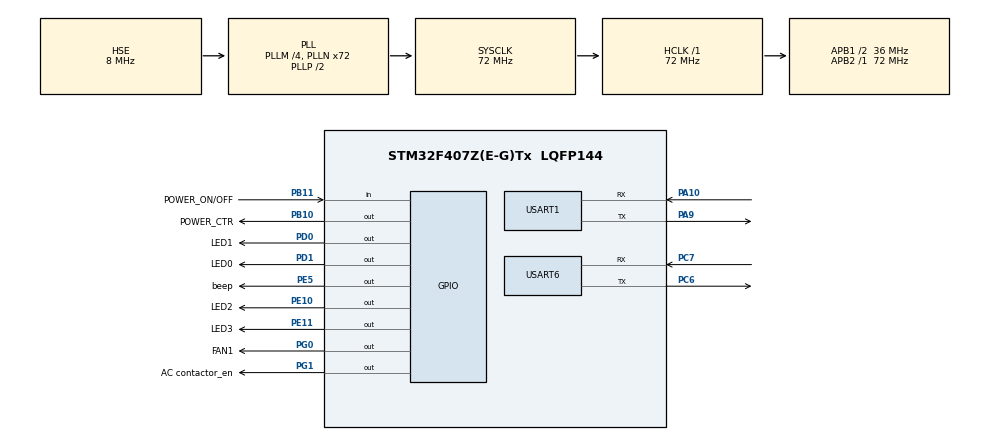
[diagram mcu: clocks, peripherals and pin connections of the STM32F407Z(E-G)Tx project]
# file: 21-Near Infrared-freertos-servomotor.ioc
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FREERTOS.Tasks01=LED_Task,-1,128,Start_LED_Task,Default,NULL,Dynamic,NULL,NULL;PWR_Task,0,128,Start_PWR_Task,Default,NULL,Dynamic,NULL,NULL;Display_tempera,-1,128,Start_Display_temperature_Task,Default,NULL,Dynamic,NULL,NULL;Control_fan_Tas,0,128,Start_Control_fan_Task,Default,NULL,Dynamic,NULL,NULL
Mcu.Family=STM32F4
Mcu.Name=STM32F407Z(E-G)Tx
Mcu.Package=LQFP144
NVIC.PriorityGroup=NVIC_PRIORITYGROUP_4
NVIC.TIM2_IRQn=true\:5\:0\:false\:false\:true\:true\:true\:true\:true
NVIC.TIM7_IRQn=true\:15\:0\:false\:false\:true\:false\:false\:true\:true
NVIC.TimeBase=TIM7_IRQn
NVIC.TimeBaseIP=TIM7
NVIC.USART1_IRQn=true\:5\:0\:false\:false\:true\:true\:true\:true\:true
NVIC.USART6_IRQn=true\:6\:0\:true\:false\:true\:true\:true\:true\:true
PA10.Mode=Asynchronous
PA10.Signal=USART1_RX
PA13.Mode=Serial_Wire
PA13.Signal=SYS_JTMS-SWDIO
PA14.Mode=Serial_Wire
PA14.Signal=SYS_JTCK-SWCLK
PA9.Mode=Asynchronous
PA9.Signal=USART1_TX
PB10.GPIO_Label=POWER_CTR
PB10.GPIO_PuPd=GPIO_PULLDOWN
PB10.GPIO_Speed=GPIO_SPEED_FREQ_HIGH
PB10.PinState=GPIO_PIN_RESET
PB10.Signal=GPIO_Output
PB11.GPIO_Label=POWER_ON/OFF
PB11.GPIO_PuPd=GPIO_PULLUP
PB11.Signal=GPIO_Input
PC6.Mode=Asynchronous
PC6.Signal=USART6_TX
PC7.Mode=Asynchronous
PC7.Signal=USART6_RX
PD0.GPIO_Label=LED1
PD0.GPIO_PuPd=GPIO_PULLUP
PD0.GPIO_Speed=GPIO_SPEED_FREQ_HIGH
PD0.PinState=GPIO_PIN_SET
PD0.Signal=GPIO_Output
PD1.GPIO_Label=LED0
PD1.GPIO_PuPd=GPIO_PULLUP
PD1.GPIO_Speed=GPIO_SPEED_FREQ_HIGH
PD1.PinState=GPIO_PIN_SET
PD1.Signal=GPIO_Output
PE10.GPIO_Label=LED2
PE10.GPIO_PuPd=GPIO_PULLUP
PE10.GPIO_Speed=GPIO_SPEED_FREQ_HIGH
PE10.PinState=GPIO_PIN_SET
PE10.Signal=GPIO_Output
PE11.GPIO_Label=LED3
PE11.GPIO_PuPd=GPIO_PULLUP
PE11.GPIO_Speed=GPIO_SPEED_FREQ_HIGH
PE11.PinState=GPIO_PIN_SET
PE11.Signal=GPIO_Output
PE5.GPIO_Label=beep
PE5.GPIO_PuPd=GPIO_PULLDOWN
PE5.GPIO_Speed=GPIO_SPEED_FREQ_HIGH
PE5.Signal=GPIO_Output
PG0.GPIO_Label=FAN1
PG0.GPIO_PuPd=GPIO_PULLDOWN
PG0.GPIO_Speed=GPIO_SPEED_FREQ_HIGH
PG0.Signal=GPIO_Output
PG1.GPIO_Label=AC contactor_en
PG1.GPIO_PuPd=GPIO_PULLDOWN
PG1.GPIO_Speed=GPIO_SPEED_FREQ_HIGH
PG1.Signal=GPIO_Output
PH0-OSC_IN.Mode=HSE-External-Oscillator
PH0-OSC_IN.Signal=RCC_OSC_IN
PH1-OSC_OUT.Mode=HSE-External-Oscillator
PH1-OSC_OUT.Signal=RCC_OSC_OUT
ProjectManager.HeapSize=0x200
ProjectManager.StackSize=0x400
ProjectManager.TargetToolchain=MDK-ARM V5.32
RCC.48MHZClocksFreq_Value=36000000
RCC.AHBFreq_Value=72000000
RCC.APB1CLKDivider=RCC_HCLK_DIV2
RCC.APB1Freq_Value=36000000
RCC.APB1TimFreq_Value=72000000
RCC.APB2Freq_Value=72000000
RCC.APB2TimFreq_Value=72000000
RCC.CortexFreq_Value=72000000
RCC.HCLKFreq_Value=72000000
RCC.HSE_VALUE=8000000
RCC.HSI_VALUE=16000000
RCC.LSE_VALUE=32768
RCC.PLLM=4
RCC.PLLN=72
RCC.PLLSourceVirtual=RCC_PLLSOURCE_HSE
RCC.SYSCLKFreq_VALUE=72000000
RCC.SYSCLKSource=RCC_SYSCLKSOURCE_PLLCLK
RCC.VCOOutputFreq_Value=144000000
TIM2.Period=1750
TIM2.Prescaler=72-1
USART1.VirtualMode=VM_ASYNC
USART6.VirtualMode=VM_ASYNC
VP_FREERTOS_VS_CMSIS_V1.Mode=CMSIS_V1
VP_SYS_VS_tim7.Mode=TIM7
VP_TIM2_VS_ClockSourceINT.Mode=Internal
board=custom

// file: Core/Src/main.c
/* USER CODE BEGIN Header */
/**
  ******************************************************************************
  * @file           : main.c
  * @brief          : Main program body
  ******************************************************************************
  * @attention
  *
  * Copyright (c) 2024 STMicroelectronics.
  * All rights reserved.
  *
  * This software is licensed under terms that can be found in the LICENSE file
  * in the root directory of this software component.
  * If no LICENSE file comes with this software, it is provided AS-IS.
  *
  ******************************************************************************
  */
/* USER CODE END Header */
#include "main.h"
#include "cmsis_os.h"
#include "tim.h"
#include "usart.h"
#include "gpio.h"

void SystemClock_Config(void);
void MX_FREERTOS_Init(void);

int main(void)
{

  /* MCU Configuration--------------------------------------------------------*/

  /* Reset of all peripherals, Initializes the Flash interface and the Systick. */
  HAL_Init();

  /* Configure the system clock */
  SystemClock_Config();

  /* Initialize all configured peripherals */
  MX_GPIO_Init();
  MX_USART6_UART_Init();
  MX_TIM2_Init();
  MX_USART1_UART_Init();
  /* USER CODE BEGIN 2 */
  HAL_GPIO_WritePin(POWER_CTR_GPIO_Port,POWER_CTR_Pin,GPIO_PIN_SET);//上电的一瞬间，开启12V-3.3V的控制IO。保持供电
  HAL_GPIO_WritePin(beep_GPIO_Port,beep_Pin,GPIO_PIN_SET);//上电的一瞬间，开启开启蜂鸣器的提示
  HAL_Delay(500);//延时500Ms
  HAL_GPIO_WritePin(beep_GPIO_Port,beep_Pin,GPIO_PIN_RESET);//延时500Ms后，关闭蜂鸣器
  /* USER CODE END 2 */

  /* Call init function for freertos objects (in cmsis_os2.c) */
  MX_FREERTOS_Init();

  /* Start scheduler */
  osKernelStart();

  /* We should never get here as control is now taken by the scheduler */

  /* Infinite loop */
  while (1)
  {

  }
}

void SystemClock_Config(void)
{
  RCC_OscInitTypeDef RCC_OscInitStruct = {0};
  RCC_ClkInitTypeDef RCC_ClkInitStruct = {0};

  /** Configure the main internal regulator output voltage
  */
  __HAL_RCC_PWR_CLK_ENABLE();
  __HAL_PWR_VOLTAGESCALING_CONFIG(PWR_REGULATOR_VOLTAGE_SCALE1);

  /** Initializes the RCC Oscillators according to the specified parameters
  * in the RCC_OscInitTypeDef structure.
  */
  RCC_OscInitStruct.OscillatorType = RCC_OSCILLATORTYPE_HSE;
  RCC_OscInitStruct.HSEState = RCC_HSE_ON;
  RCC_OscInitStruct.PLL.PLLState = RCC_PLL_ON;
  RCC_OscInitStruct.PLL.PLLSource = RCC_PLLSOURCE_HSE;
  RCC_OscInitStruct.PLL.PLLM = 4;
  RCC_OscInitStruct.PLL.PLLN = 72;
  RCC_OscInitStruct.PLL.PLLP = RCC_PLLP_DIV2;
  RCC_OscInitStruct.PLL.PLLQ = 4;
  if (HAL_RCC_OscConfig(&RCC_OscInitStruct) != HAL_OK)
  {
    Error_Handler();
  }

  /** Initializes the CPU, AHB and APB buses clocks
  */
  RCC_ClkInitStruct.ClockType = RCC_CLOCKTYPE_HCLK|RCC_CLOCKTYPE_SYSCLK
                              |RCC_CLOCKTYPE_PCLK1|RCC_CLOCKTYPE_PCLK2;
  RCC_ClkInitStruct.SYSCLKSource = RCC_SYSCLKSOURCE_PLLCLK;
  RCC_ClkInitStruct.AHBCLKDivider = RCC_SYSCLK_DIV1;
  RCC_ClkInitStruct.APB1CLKDivider = RCC_HCLK_DIV2;
  RCC_ClkInitStruct.APB2CLKDivider = RCC_HCLK_DIV1;

  if (HAL_RCC_ClockConfig(&RCC_ClkInitStruct, FLASH_LATENCY_2) != HAL_OK)
  {
    Error_Handler();
  }
}

void HAL_TIM_PeriodElapsedCallback(TIM_HandleTypeDef *htim)
{
  if (htim->Instance == TIM7) {
    HAL_IncTick();
  }
}

void Error_Handler(void)
{
  __disable_irq();
  while (1)
  {
  }
}

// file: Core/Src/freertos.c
/* USER CODE BEGIN Header */
/**
  ******************************************************************************
  * File Name          : freertos.c
  * Description        : Code for freertos applications
  ******************************************************************************
  * @attention
  *
  * Copyright (c) 2024 STMicroelectronics.
  * All rights reserved.
  *
  * This software is licensed under terms that can be found in the LICENSE file
  * in the root directory of this software component.
  * If no LICENSE file comes with this software, it is provided AS-IS.
  *
  ******************************************************************************
  */
/* USER CODE END Header */

#include "FreeRTOS.h"
#include "task.h"
#include "main.h"
#include "cmsis_os.h"

/* USER CODE BEGIN Includes */
#include "PWR_ON_OFF.h"
#include "Control_fan.h"
#include "Display_temperature.h"
#include "string.h"
#include "stdio.h"
#include "sys.h"
#include "usart.h"

/* USER CODE END Includes */

osThreadId LED_TaskHandle;
osThreadId PWR_TaskHandle;
osThreadId Display_temperaHandle;
osThreadId Control_fan_TasHandle;

void Start_LED_Task(void const * argument);
void Start_PWR_Task(void const * argument);
void Start_Display_temperature_Task(void const * argument);
void Start_Control_fan_Task(void const * argument);

void MX_FREERTOS_Init(void); /* (MISRA C 2004 rule 8.1) */

/* GetIdleTaskMemory prototype (linked to static allocation support) */
void vApplicationGetIdleTaskMemory( StaticTask_t **ppxIdleTaskTCBBuffer, StackType_t **ppxIdleTaskStackBuffer, uint32_t *pulIdleTaskStackSize );

/* USER CODE BEGIN GET_IDLE_TASK_MEMORY */
static StaticTask_t xIdleTaskTCBBuffer;
static StackType_t xIdleStack[configMINIMAL_STACK_SIZE];

void vApplicationGetIdleTaskMemory( StaticTask_t **ppxIdleTaskTCBBuffer, StackType_t **ppxIdleTaskStackBuffer, uint32_t *pulIdleTaskStackSize )
{
  *ppxIdleTaskTCBBuffer = &xIdleTaskTCBBuffer;
  *ppxIdleTaskStackBuffer = &xIdleStack[0];
  *pulIdleTaskStackSize = configMINIMAL_STACK_SIZE;
  /* place for user code */
}
/* USER CODE END GET_IDLE_TASK_MEMORY */

void MX_FREERTOS_Init(void) {

  /* Create the thread(s) */
  /* definition and creation of LED_Task */
  osThreadDef(LED_Task, Start_LED_Task, osPriorityBelowNormal, 0, 128);
  LED_TaskHandle = osThreadCreate(osThread(LED_Task), NULL);

  /* definition and creation of PWR_Task */
  osThreadDef(PWR_Task, Start_PWR_Task, osPriorityNormal, 0, 128);
  PWR_TaskHandle = osThreadCreate(osThread(PWR_Task), NULL);

  /* definition and creation of Display_tempera */
  osThreadDef(Display_tempera, Start_Display_temperature_Task, osPriorityBelowNormal, 0, 128);
  Display_temperaHandle = osThreadCreate(osThread(Display_tempera), NULL);

  /* definition and creation of Control_fan_Tas */
  osThreadDef(Control_fan_Tas, Start_Control_fan_Task, osPriorityBelowNormal, 0, 128);
  Control_fan_TasHandle = osThreadCreate(osThread(Control_fan_Tas), NULL);

}

void Start_LED_Task(void const * argument)
{
  /* USER CODE BEGIN Start_LED_Task */
  /* Infinite loop */
  for(;;)
  {
	  HAL_GPIO_TogglePin(LED0_GPIO_Port,LED0_Pin);
	  HAL_GPIO_TogglePin(LED1_GPIO_Port,LED1_Pin);
	  osDelay(500);
  }
  /* USER CODE END Start_LED_Task */
}

void Start_PWR_Task(void const * argument)
{
  /* USER CODE BEGIN Start_PWR_Task */
  /* Infinite loop */
  for(;;)
  {
      PWR_ON_OFF();
	  osDelay(20);
  }
  /* USER CODE END Start_PWR_Task */
}

void Start_Display_temperature_Task(void const * argument)
{
  /* USER CODE BEGIN Start_Display_temperature_Task */
  /* Infinite loop */
  for(;;)
  {
	  Display_temperature();
//	  printf("wset numTf.valf -2.32\r\n");
//	  osDelay(100);
//	  printf("wset numTf.valf 26.36\r\n");
	  osDelay(100);
  }
  /* USER CODE END Start_Display_temperature_Task */
}

void Start_Control_fan_Task(void const * argument)
{
  /* USER CODE BEGIN Start_Control_fan_Task */
  /* Infinite loop */
  for(;;)
  {
     Control_fan();
     osDelay(200);
  }
  /* USER CODE END Start_Control_fan_Task */
}
